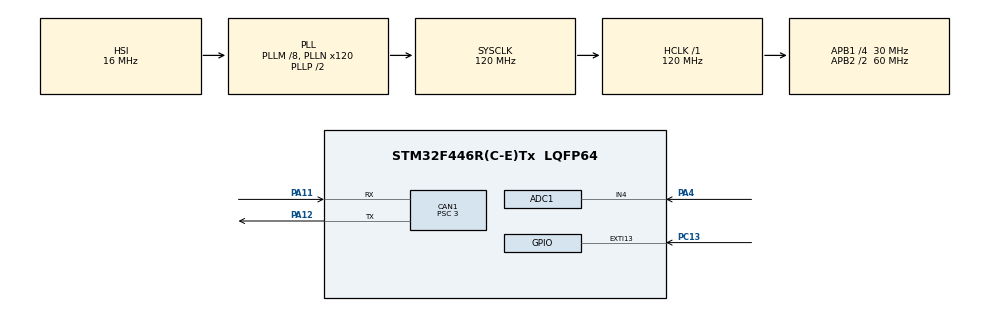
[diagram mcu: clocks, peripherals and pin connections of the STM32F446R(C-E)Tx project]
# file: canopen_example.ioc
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ADC1.Channel-0\#ChannelRegularConversion=ADC_CHANNEL_4
ADC1.DMAContinuousRequests=ENABLE
ADC1.NbrOfConversionFlag=1
ADC1.Rank-0\#ChannelRegularConversion=1
ADC1.SamplingTime-0\#ChannelRegularConversion=ADC_SAMPLETIME_3CYCLES
ADC1.ScanConvMode=ENABLE
ADC1.master=1
CAN1.BS1=CAN_BS1_8TQ
CAN1.CalculateBaudRate=1000000
CAN1.CalculateTimeQuantum=100.0
CAN1.NART=ENABLE
CAN1.Prescaler=3
Dma.ADC1.0.Direction=DMA_PERIPH_TO_MEMORY
Dma.ADC1.0.FIFOMode=DMA_FIFOMODE_DISABLE
Dma.ADC1.0.Instance=DMA2_Stream0
Dma.ADC1.0.MemDataAlignment=DMA_MDATAALIGN_HALFWORD
Dma.ADC1.0.MemInc=DMA_MINC_ENABLE
Dma.ADC1.0.Mode=DMA_CIRCULAR
Dma.ADC1.0.PeriphDataAlignment=DMA_PDATAALIGN_HALFWORD
Dma.ADC1.0.PeriphInc=DMA_PINC_DISABLE
Dma.ADC1.0.Priority=DMA_PRIORITY_LOW
Dma.Request0=ADC1
Mcu.Family=STM32F4
Mcu.Name=STM32F446R(C-E)Tx
Mcu.Package=LQFP64
NVIC.CAN1_RX0_IRQn=true\:0\:0\:false\:false\:true\:true\:true\:true
NVIC.DMA2_Stream0_IRQn=true\:0\:0\:false\:false\:true\:false\:true\:true
NVIC.EXTI15_10_IRQn=true\:0\:0\:false\:false\:true\:true\:true\:true
NVIC.PriorityGroup=NVIC_PRIORITYGROUP_4
NVIC.TIM1_UP_TIM10_IRQn=true\:0\:0\:false\:false\:true\:true\:true\:true
PA11.Mode=CAN_Activate
PA11.Signal=CAN1_RX
PA12.Mode=CAN_Activate
PA12.Signal=CAN1_TX
PA4.Signal=ADCx_IN4
PC13.GPIO_ModeDefaultEXTI=GPIO_MODE_IT_FALLING
PC13.Signal=GPXTI13
ProjectManager.HeapSize=0x200
ProjectManager.StackSize=0x400
ProjectManager.TargetToolchain=EWARM V8.50
RCC.AHBFreq_Value=120000000
RCC.APB1CLKDivider=RCC_HCLK_DIV4
RCC.APB1Freq_Value=30000000
RCC.APB1TimFreq_Value=60000000
RCC.APB2CLKDivider=RCC_HCLK_DIV2
RCC.APB2Freq_Value=60000000
RCC.APB2TimFreq_Value=120000000
RCC.CortexFreq_Value=120000000
RCC.HCLKFreq_Value=120000000
RCC.HSE_VALUE=25000000
RCC.PLLM=8
RCC.PLLN=120
RCC.SYSCLKFreq_VALUE=120000000
RCC.SYSCLKSource=RCC_SYSCLKSOURCE_PLLCLK
RCC.USBFreq_Value=120000000
RCC.VCOOutputFreq_Value=240000000
SH.ADCx_IN4.0=ADC1_IN4,IN4
TIM1.Period=5999
TIM1.Prescaler=999
TIM2.Period=59999
TIM2.Prescaler=1
VP_TIM1_VS_ClockSourceINT.Mode=Internal
VP_TIM2_VS_ClockSourceINT.Mode=Internal
board=custom

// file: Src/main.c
/* USER CODE BEGIN Header */
/**
  ******************************************************************************
  * @file           : main.c
  * @brief          : Main program body
  ******************************************************************************
  * @attention
  *
  * <h2><center>&copy; Copyright (c) 2020 STMicroelectronics.
  * All rights reserved.</center></h2>
  *
  * This software component is licensed by ST under BSD 3-Clause license,
  * the "License"; You may not use this file except in compliance with the
  * License. You may obtain a copy of the License at:
  *                        opensource.org/licenses/BSD-3-Clause
  *
  ******************************************************************************
  */
/* USER CODE END Header */
#include "main.h"

/* USER CODE BEGIN Includes */
#include "Functions/mit_sending.h"
#include "Functions/mit_receiving.h"
#include "Functions/extra_motor_function.h"
#include "Functions/servo_sending.h"
#include "Functions/servo_receiving.h"
<<<<<<< HEAD
#include "Functions/motor_control_demos.h"
=======
>>>>>>> 661b406dc0e2bcc68daf654e5711c088c7d3b072
/* USER CODE END Includes */

 ADC_HandleTypeDef hadc1;
DMA_HandleTypeDef hdma_adc1;

CAN_HandleTypeDef hcan1;

TIM_HandleTypeDef htim1;
TIM_HandleTypeDef htim2;

void SystemClock_Config(void);
static void MX_GPIO_Init(void);
static void MX_CAN1_Init(void);
static void MX_DMA_Init(void);
static void MX_TIM1_Init(void);
static void MX_ADC1_Init(void);
static void MX_TIM2_Init(void);

/* USER CODE BEGIN 0 */

            /*
<<<<<<< HEAD
            Sensors ADC
            */

uint16_t adcValues[1];

            /*
=======
>>>>>>> 661b406dc0e2bcc68daf654e5711c088c7d3b072
            SERVO MODE
            */

uint8_t buffer[8];

float motor_pos;
float motor_spd;
float motor_cur;
int8_t motor_temp;
int8_t motor_error;

<<<<<<< HEAD

float rpm=300.0f;
float position=180.0f;
float acceleration = 100.0f;
float current = 0.0f;
float duty = 0.0f;

uint8_t controller_id=1;
uint8_t flag=14;
//****************************Interrupt*************************//
CAN_RxHeaderTypeDef   Rx0Header;
uint8_t               Rx0Data[8];

=======
//****************************Interrupt*************************//
CAN_RxHeaderTypeDef   Rx0Header;
uint8_t               Rx0Data[8];
float rpm=1000.0f;
uint8_t controller_id=0x68;
uint8_t flag=14;
>>>>>>> 661b406dc0e2bcc68daf654e5711c088c7d3b072

void HAL_CAN_RxFifo0MsgPendingCallback(CAN_HandleTypeDef *hcan){
  if(HAL_CAN_GetRxMessage(hcan, CAN_RX_FIFO0, &Rx0Header, Rx0Data) == HAL_OK){
    motor_receive(Rx0Data);
  }
}

<<<<<<< HEAD

volatile uint8_t      count=0;
volatile uint8_t      avg_count = 0;
double                avg = 0;
double                input = 0;
float desired_val = 200;
double elapsedTime = 0.05;

void HAL_TIM_PeriodElapsedCallback(TIM_HandleTypeDef *htim){
  //1000Hz loop for moving avg
  if(htim == &htim2){
    avg = avg + adcValues[0];
    avg_count++;
    if (avg_count == 5) {
      input = avg/5.0;
      avg = 0;
      avg_count = 0;
    }
  }
  //200Hz loop for control
  else if(htim== &htim1){
    /*
    count++ ;
    if(count > 1000) count=0;
    float desired_val=sin_profile_generate(count, 300);
    */
    input = adcValues[0];
    pid_current(controller_id, input, desired_val, elapsedTime);

    //comm_can_set_rpm(controller_id, rpm);
    //comm_can_set_pos(controller_id, position);
    //comm_can_set_current(controller_id, current);
    //comm_can_set_duty(controller_id, duty);
    //gravity_compensation(controller_id, 0.2, 1, 0.52);
  }
=======
void HAL_TIM_PeriodElapsedCallback(TIM_HandleTypeDef *htim){
  if(htim == &htim1){
    comm_can_set_rpm(controller_id, rpm);
  }
>>>>>>> 661b406dc0e2bcc68daf654e5711c088c7d3b072
}

void HAL_GPIO_EXTI_Callback(uint16_t GPIO_Pin){
  if(GPIO_Pin == GPIO_PIN_13){
<<<<<<< HEAD
    if (flag==0){
      comm_can_set_origin(controller_id, 1);
    }
    else if(flag==14){
      // [[ Timer1 Init ]]
      // [[ Start main loop ]] (1kHz)
      gravity_compensation_initialize(controller_id);
      HAL_TIM_Base_Start_IT(&htim1);
=======
    if(flag==14){
      // [[ Timer1 Init ]]
      // [[ Start main loop ]] (1kHz)
      enter_motor_mode_servo(controller_id);                                 //motor mode enter

      //HAL_TIM_Base_Start_IT(&htim1);
>>>>>>> 661b406dc0e2bcc68daf654e5711c088c7d3b072

    }
    else if(flag==82){

<<<<<<< HEAD
      HAL_TIM_Base_Stop_IT(&htim1);
=======
      //HAL_TIM_Base_Stop_IT(&htim1);
>>>>>>> 661b406dc0e2bcc68daf654e5711c088c7d3b072
      exit_motor_mode_servo(controller_id);                                 //exit

    }
    else if(flag==2){
<<<<<<< HEAD
      // comm_can_set_rpm(controller_id, rpm);                    //send
      //comm_can_set_pos(controller_id, position);
      //comm_can_set_current(controller_id, current);
      //comm_can_set_duty(controller_id, duty);
=======
      comm_can_set_rpm(controller_id, rpm);                    //send
>>>>>>> 661b406dc0e2bcc68daf654e5711c088c7d3b072
      }
    }
  }

<<<<<<< HEAD

=======
>>>>>>> 661b406dc0e2bcc68daf654e5711c088c7d3b072
/*
                                .
                                .
                                .
                                MIT MODE

//-----------------------initialize value---------------------------//
float torque=0.0f;
float position=0.0f;
float velocity=0.0f;

float p_in=0.0f;
float v_in=0.0f;
float kp_in = 50.0f;
float kd_in = 1.0f;
float t_in =0.0f;

uint8_t TxData[8];

//-----------------------Interrupt---------------------------------//
CAN_RxHeaderTypeDef   Rx0Header;
uint8_t               Rx0Data[8];
void HAL_CAN_RxFifo0MsgPendingCallback(CAN_HandleTypeDef *hcan){
  if(HAL_CAN_GetRxMessage(hcan, CAN_RX_FIFO0, &Rx0Header, Rx0Data) == HAL_OK){
    unpack_reply(Rx0Data);
  }
}

uint8_t flag=0;
void HAL_TIM_PeriodElapsedCallback(TIM_HandleTypeDef *htim){
  if(htim == &htim1){ // 10kHz Loop
     pack_cmd(TxData, p_in, v_in, kp_in, kd_in, t_in);
     sendFrame_std(1, TxData, 8);

  }
}

void HAL_GPIO_EXTI_Callback(uint16_t GPIO_Pin){
  if(GPIO_Pin == GPIO_PIN_13){
    if(flag==0){
      set_zero();                                         //set origin
      //exit_motor_mode();
    }
    else if(flag==1){
      enter_motor_mode();                                 //motor mode enter
    }
    else if(flag==2){
      // [[ Timer1 Init ]]
      // [[ Start main loop ]] (1kHz)
      HAL_TIM_Base_Start_IT(&htim1);

      }
    else if(flag==3){
      pull_up();                                         //0 set (parking gear)
    }
    else if(flag==4){
      HAL_TIM_Base_Stop_IT(&htim1);
      exit_motor_mode();                                 //exit
      }
    else if(flag==27){
      float delta = 0.1f;
      p_in = p_in+delta;
    }
  }
}

.
.
.
*/

/* USER CODE END 0 */

int main(void)
{

  /* MCU Configuration--------------------------------------------------------*/

  /* Reset of all peripherals, Initializes the Flash interface and the Systick. */
  HAL_Init();

  /* Configure the system clock */
  SystemClock_Config();

  /* Initialize all configured peripherals */
  MX_GPIO_Init();
  MX_CAN1_Init();
  MX_DMA_Init();
  MX_TIM1_Init();
  MX_ADC1_Init();
  MX_TIM2_Init();
  /* USER CODE BEGIN 2 */

  // [[ CAN Init ]]
  // This mcu is CANOpen Master. So it should receive all can frame.
  CAN_FilterTypeDef sFilterConfig0;
  sFilterConfig0.FilterBank = 0;
  sFilterConfig0.FilterMode = CAN_FILTERMODE_IDMASK;
  sFilterConfig0.FilterScale = CAN_FILTERSCALE_16BIT;
  sFilterConfig0.FilterIdLow = 0x0000;
  sFilterConfig0.FilterMaskIdLow = 0x0000;
  sFilterConfig0.FilterIdHigh = 0x0000;
  sFilterConfig0.FilterMaskIdHigh = 0x0000;
  sFilterConfig0.FilterFIFOAssignment = CAN_RX_FIFO0;
  sFilterConfig0.FilterActivation = ENABLE;
  HAL_CAN_ConfigFilter(&hcan1, &sFilterConfig0);

  HAL_CAN_Start(&hcan1);
  HAL_CAN_ActivateNotification(&hcan1, CAN_IT_RX_FIFO0_MSG_PENDING);

  // [[DMA Init]]
  HAL_ADC_Start_DMA(&hadc1, (uint32_t *)adcValues, 1);

  /* USER CODE END 2 */

  /* Infinite loop */
  /* USER CODE BEGIN WHILE */
  while (1)
  {
    HAL_ADC_Start(&hadc1);
    HAL_Delay(1);
    /* USER CODE END WHILE */

  }
}

void SystemClock_Config(void)
{
  RCC_OscInitTypeDef RCC_OscInitStruct = {0};
  RCC_ClkInitTypeDef RCC_ClkInitStruct = {0};

  /** Configure the main internal regulator output voltage
  */
  __HAL_RCC_PWR_CLK_ENABLE();
  __HAL_PWR_VOLTAGESCALING_CONFIG(PWR_REGULATOR_VOLTAGE_SCALE3);

  /** Initializes the RCC Oscillators according to the specified parameters
  * in the RCC_OscInitTypeDef structure.
  */
  RCC_OscInitStruct.OscillatorType = RCC_OSCILLATORTYPE_HSI;
  RCC_OscInitStruct.HSIState = RCC_HSI_ON;
  RCC_OscInitStruct.HSICalibrationValue = RCC_HSICALIBRATION_DEFAULT;
  RCC_OscInitStruct.PLL.PLLState = RCC_PLL_ON;
  RCC_OscInitStruct.PLL.PLLSource = RCC_PLLSOURCE_HSI;
  RCC_OscInitStruct.PLL.PLLM = 8;
  RCC_OscInitStruct.PLL.PLLN = 120;
  RCC_OscInitStruct.PLL.PLLP = RCC_PLLP_DIV2;
  RCC_OscInitStruct.PLL.PLLQ = 2;
  RCC_OscInitStruct.PLL.PLLR = 2;
  if (HAL_RCC_OscConfig(&RCC_OscInitStruct) != HAL_OK)
  {
    Error_Handler();
  }

  /** Initializes the CPU, AHB and APB buses clocks
  */
  RCC_ClkInitStruct.ClockType = RCC_CLOCKTYPE_HCLK|RCC_CLOCKTYPE_SYSCLK
                              |RCC_CLOCKTYPE_PCLK1|RCC_CLOCKTYPE_PCLK2;
  RCC_ClkInitStruct.SYSCLKSource = RCC_SYSCLKSOURCE_PLLCLK;
  RCC_ClkInitStruct.AHBCLKDivider = RCC_SYSCLK_DIV1;
  RCC_ClkInitStruct.APB1CLKDivider = RCC_HCLK_DIV4;
  RCC_ClkInitStruct.APB2CLKDivider = RCC_HCLK_DIV2;

  if (HAL_RCC_ClockConfig(&RCC_ClkInitStruct, FLASH_LATENCY_3) != HAL_OK)
  {
    Error_Handler();
  }
}

static void MX_ADC1_Init(void)
{

  ADC_ChannelConfTypeDef sConfig = {0};

  /** Configure the global features of the ADC (Clock, Resolution, Data Alignment and number of conversion)
  */
  hadc1.Instance = ADC1;
  hadc1.Init.ClockPrescaler = ADC_CLOCK_SYNC_PCLK_DIV2;
  hadc1.Init.Resolution = ADC_RESOLUTION_12B;
  hadc1.Init.ScanConvMode = ENABLE;
  hadc1.Init.ContinuousConvMode = DISABLE;
  hadc1.Init.DiscontinuousConvMode = DISABLE;
  hadc1.Init.ExternalTrigConvEdge = ADC_EXTERNALTRIGCONVEDGE_NONE;
  hadc1.Init.ExternalTrigConv = ADC_SOFTWARE_START;
  hadc1.Init.DataAlign = ADC_DATAALIGN_RIGHT;
  hadc1.Init.NbrOfConversion = 1;
  hadc1.Init.DMAContinuousRequests = ENABLE;
  hadc1.Init.EOCSelection = ADC_EOC_SINGLE_CONV;
  if (HAL_ADC_Init(&hadc1) != HAL_OK)
  {
    Error_Handler();
  }

  /** Configure for the selected ADC regular channel its corresponding rank in the sequencer and its sample time.
  */
  sConfig.Channel = ADC_CHANNEL_4;
  sConfig.Rank = 1;
  sConfig.SamplingTime = ADC_SAMPLETIME_3CYCLES;
  if (HAL_ADC_ConfigChannel(&hadc1, &sConfig) != HAL_OK)
  {
    Error_Handler();
  }

}

static void MX_CAN1_Init(void)
{

  hcan1.Instance = CAN1;
  hcan1.Init.Prescaler = 3;
  hcan1.Init.Mode = CAN_MODE_NORMAL;
  hcan1.Init.SyncJumpWidth = CAN_SJW_1TQ;
  hcan1.Init.TimeSeg1 = CAN_BS1_8TQ;
  hcan1.Init.TimeSeg2 = CAN_BS2_1TQ;
  hcan1.Init.TimeTriggeredMode = DISABLE;
  hcan1.Init.AutoBusOff = DISABLE;
  hcan1.Init.AutoWakeUp = DISABLE;
  hcan1.Init.AutoRetransmission = ENABLE;
  hcan1.Init.ReceiveFifoLocked = DISABLE;
  hcan1.Init.TransmitFifoPriority = DISABLE;
  if (HAL_CAN_Init(&hcan1) != HAL_OK)
  {
    Error_Handler();
  }

}

static void MX_TIM1_Init(void)
{

  TIM_ClockConfigTypeDef sClockSourceConfig = {0};
  TIM_MasterConfigTypeDef sMasterConfig = {0};

  htim1.Instance = TIM1;
  htim1.Init.Prescaler = 999;
  htim1.Init.CounterMode = TIM_COUNTERMODE_UP;
  htim1.Init.Period = 5999;
  htim1.Init.ClockDivision = TIM_CLOCKDIVISION_DIV1;
  htim1.Init.RepetitionCounter = 0;
  htim1.Init.AutoReloadPreload = TIM_AUTORELOAD_PRELOAD_DISABLE;
  if (HAL_TIM_Base_Init(&htim1) != HAL_OK)
  {
    Error_Handler();
  }
  sClockSourceConfig.ClockSource = TIM_CLOCKSOURCE_INTERNAL;
  if (HAL_TIM_ConfigClockSource(&htim1, &sClockSourceConfig) != HAL_OK)
  {
    Error_Handler();
  }
  sMasterConfig.MasterOutputTrigger = TIM_TRGO_RESET;
  sMasterConfig.MasterSlaveMode = TIM_MASTERSLAVEMODE_DISABLE;
  if (HAL_TIMEx_MasterConfigSynchronization(&htim1, &sMasterConfig) != HAL_OK)
  {
    Error_Handler();
  }

}

static void MX_TIM2_Init(void)
{

  TIM_ClockConfigTypeDef sClockSourceConfig = {0};
  TIM_MasterConfigTypeDef sMasterConfig = {0};

  htim2.Instance = TIM2;
  htim2.Init.Prescaler = 1;
  htim2.Init.CounterMode = TIM_COUNTERMODE_UP;
  htim2.Init.Period = 59999;
  htim2.Init.ClockDivision = TIM_CLOCKDIVISION_DIV1;
  htim2.Init.AutoReloadPreload = TIM_AUTORELOAD_PRELOAD_DISABLE;
  if (HAL_TIM_Base_Init(&htim2) != HAL_OK)
  {
    Error_Handler();
  }
  sClockSourceConfig.ClockSource = TIM_CLOCKSOURCE_INTERNAL;
  if (HAL_TIM_ConfigClockSource(&htim2, &sClockSourceConfig) != HAL_OK)
  {
    Error_Handler();
  }
  sMasterConfig.MasterOutputTrigger = TIM_TRGO_RESET;
  sMasterConfig.MasterSlaveMode = TIM_MASTERSLAVEMODE_DISABLE;
  if (HAL_TIMEx_MasterConfigSynchronization(&htim2, &sMasterConfig) != HAL_OK)
  {
    Error_Handler();
  }

}

static void MX_DMA_Init(void)
{

  /* DMA controller clock enable */
  __HAL_RCC_DMA2_CLK_ENABLE();

  /* DMA interrupt init */
  /* DMA2_Stream0_IRQn interrupt configuration */
  HAL_NVIC_SetPriority(DMA2_Stream0_IRQn, 0, 0);
  HAL_NVIC_EnableIRQ(DMA2_Stream0_IRQn);

}

static void MX_GPIO_Init(void)
{
  GPIO_InitTypeDef GPIO_InitStruct = {0};

  /* GPIO Ports Clock Enable */
  __HAL_RCC_GPIOC_CLK_ENABLE();
  __HAL_RCC_GPIOA_CLK_ENABLE();

  /*Configure GPIO pin : PC13 */
  GPIO_InitStruct.Pin = GPIO_PIN_13;
  GPIO_InitStruct.Mode = GPIO_MODE_IT_FALLING;
  GPIO_InitStruct.Pull = GPIO_NOPULL;
  HAL_GPIO_Init(GPIOC, &GPIO_InitStruct);

  /* EXTI interrupt init*/
  HAL_NVIC_SetPriority(EXTI15_10_IRQn, 0, 0);
  HAL_NVIC_EnableIRQ(EXTI15_10_IRQn);

}

void Error_Handler(void)
{
}
